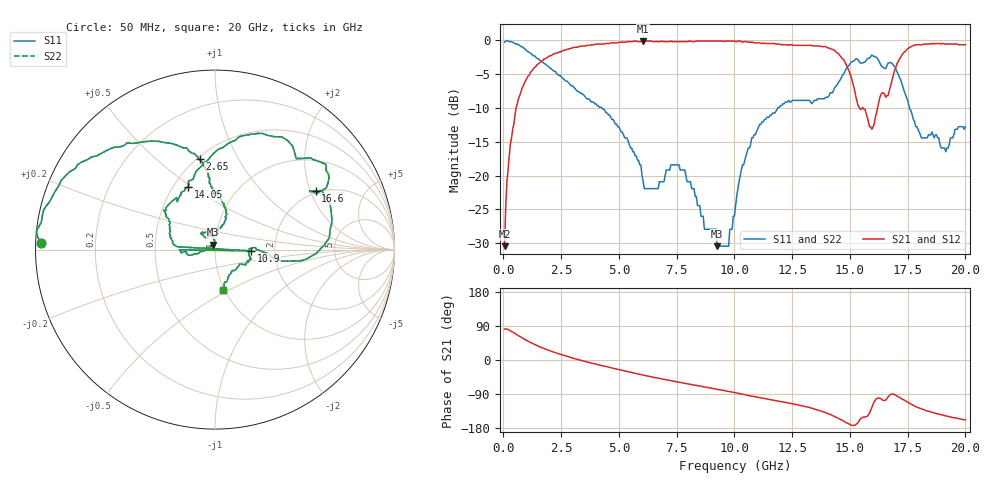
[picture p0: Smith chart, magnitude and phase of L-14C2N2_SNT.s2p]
#	mhz	s	ma	r	50
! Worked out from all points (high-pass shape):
!   400 points, 50 MHz to 20 GHz, reference 50 ohm
!   highest |S21| = -0.09 dB at 6.05 GHz (marker M1); lowest = -30.5 dB at 50 MHz (marker M2)
!   |S21| within 3 dB of the highest: 1.654 GHz to 14.76 GHz (13.11 GHz wide, 160 % of centre); 17.1 GHz to end of sweep
!   lowest |S11| = -30.5 dB at 9.25 GHz (marker M3), VSWR 1.06, Z = 48.7 + j2.67 ohm
!   |S11| at or under -10 dB: 4.269 GHz to 11.88 GHz (7.613 GHz wide, 94.3 % of centre); 17.58 GHz to end of sweep
!   |S22| runs from -30.5 to 0.0 dB; largest |S21 - S12| = 0
!   S11 on the Smith chart (normalised r, x): 50 MHz: 0.02, +0.02; 2.65 GHz: 0.52, +0.70; 10.9 GHz: 1.50, -0.02; 14.05 GHz: 0.59, +0.48; 16.6 GHz: 1.92, +2.19; 20 GHz: 0.98, -0.47
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50  0.97 177.7  0.03 81.7  0.03 81.7  0.97 177.7
250  0.98 171.0  0.14 79.1  0.14 79.1  0.98 171.0
650  0.93 154.0  0.37 63.9  0.37 63.9  0.93 154.0
2650  0.51 99.7  0.85 11.6  0.85 11.6  0.51 99.7
3400  0.4 94.7  0.91 -1.8  0.91 -1.8  0.4 94.7
6050  0.09 80.9  0.99 -40.1  0.99 -40.1  0.09 80.9
6700  0.08 126.8  0.98 -48.0  0.98 -48.0  0.08 126.8
7850  0.11 114.8  0.98 -61.5  0.98 -61.5  0.11 114.8
9250  0.03 114.2  0.99 -77.7  0.99 -77.7  0.03 114.2
10050  0.06 -172.7  0.98 -86.4  0.98 -86.4  0.06 -172.7
10850  0.2 -179.7  0.96 -96.2  0.96 -96.2  0.2 -179.7
10900  0.2 -2.0  0.96 -97.0  0.96 -97.0  0.2 -2.0
10950  0.21 175.7  0.96 -97.8  0.96 -97.8  0.21 175.7
11100  0.24 171.0  0.96 -99.4  0.96 -99.4  0.24 171.0
13350  0.34 128.2  0.92 -127.3  0.92 -127.3  0.34 128.2
14050  0.38 113.3  0.88 -141.8  0.88 -141.8  0.38 113.3
15150  0.7 65.5  0.46 -172.9  0.46 -172.9  0.7 65.5
15950  0.78 37.5  0.22 -125.6  0.22 -125.6  0.78 37.5
16600  0.65 30.3  0.39 -101.8  0.39 -101.8  0.65 30.3
16700  0.68 25.3  0.42 -94.3  0.42 -94.3  0.68 25.3
17500  0.36 -9.2  0.87 -111.3  0.87 -111.3  0.36 -9.2
20000  0.23 -78.6  0.93 -158.1  0.93 -158.1  0.23 -78.6
